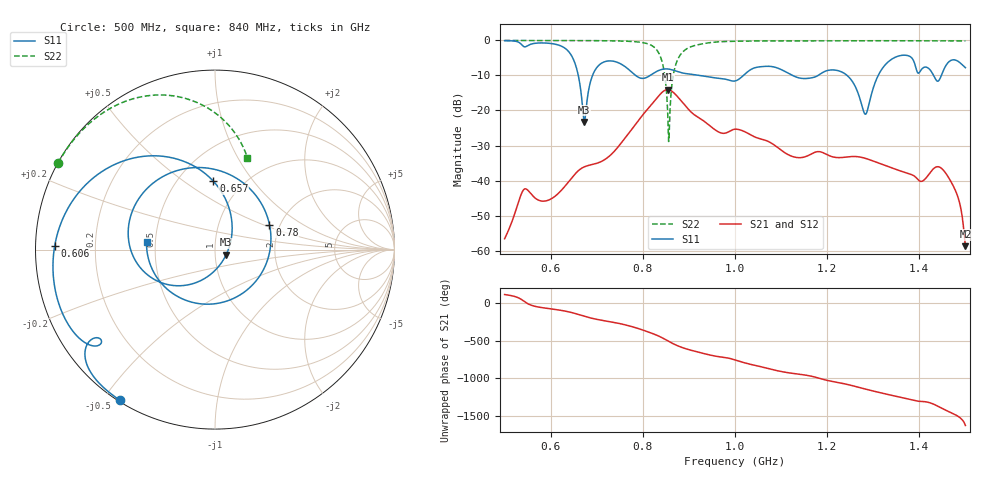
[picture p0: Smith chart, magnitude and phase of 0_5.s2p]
! TOUCHSTONE file generated by CST MICROWAVE STUDIO
! Date and time: Sat Oct 24 10:41:57 2020
! Project name: Scenario_1_Planar_Body_Tissue_Center.cst
! Parameters = {hfat=3; hmuscle=50; hskin=1.5; hgap=25; Wtissue=700; Ltissue=700; L_HA=400; MT=2.54; Rad_Dielectric=30; Rad_Lower=7.3; Rad_Upper=30; a_HA=580; a_WG=246; b_HA=500; b_WG=121; c_HA=0; c_WG=187; d_feed=85; dx1=242.28; h_feed=15; h_lower=18; h_upper=40}
! Header version: 2018
! Port assignment regex: !\s*Touchstone port\s*([0-9]+)\s*=\s*(CST MWS port|CST DS port)\s*([0-9]+|Zmin|Zmax)\s*\(\"(.*)\"\)(\s*mode\s*([0-9]+))?.*
! Touchstone port assignment:
! Touchstone port 1 = CST MWS port 1 ("")
! Touchstone port 2 = CST MWS port 2 ("")
# GHz S DB R 50
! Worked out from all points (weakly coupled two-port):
!   1003 points, 500 MHz to 1.5 GHz, reference 50 ohm
!   highest |S21| = -14.03 dB at 854 MHz (marker M1); lowest = -58.7 dB at 1.5 GHz (marker M2)
!   lowest |S11| = -23.3 dB at 673 MHz (marker M3), VSWR 1.15, Z = 56.6 - j3.19 ohm
!   |S11| at or under -10 dB: 923 MHz to 1.018 GHz (95.26 MHz wide, 9.81 % of centre); 1.125 GHz to 1.18 GHz (55.43 MHz wide, 4.81 % of centre); 1.243 GHz to 1.311 GHz (67.44 MHz wide, 5.28 % of centre) (the widest 3 of 6)
!   |S22| runs from -28.9 to 0.0 dB; largest |S21 - S12| = 7.8e-05
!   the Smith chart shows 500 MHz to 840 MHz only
!   S11 on the Smith chart (normalised r, x): 500 MHz: 0.01, -0.55; 606 MHz: 0.06, +0.01; 657 MHz: 0.74, +0.65; 780 MHz: 1.76, +0.55; 840 MHz: 0.45, +0.04
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0.5  -0.07 -122.4  -56.62 112.9  -56.62 112.9  -0.01 151.1
0.542  -1.78 -142.8  -42.53 24.5  -42.53 24.5  -0.01 148.3
0.606  -0.98 178.8  -44.82 -81.7  -44.82 -81.7  -0.02 143.7
0.657  -8.38 91.3  -37.56 -145.5  -37.56 -145.5  -0.04 139.3
0.667  -16.15 52.1  -36.51 -164.2  -36.51 -164.2  -0.04 138.4
0.673  -23.29 -24.2  -36.09 -175.2  -36.09 -175.2  -0.04 137.8
0.719  -6.00 162.9  -33.87 122.9  -33.87 122.9  -0.09 132.4
0.78  -9.53 24.7  -24.67 41.0  -24.67 41.0  -0.33 120.3
0.834  -8.60 -168.5  -15.91 -76.9  -15.91 -76.9  -3.47 81.3
0.84  -8.32 173.9  -15.04 -94.3  -15.04 -94.3  -5.34 70.4
0.854  -8.14 136.0  -14.03 -140.6  -14.03 -140.6  -20.93 21.6
0.887  -9.32 63.3  -17.84 126.7  -17.84 126.7  -3.24 176.5
0.956  -10.68 -79.8  -25.45 18.0  -25.45 18.0  -0.49 148.2
1  -11.57 152.4  -25.34 -34.1  -25.34 -34.1  -0.24 140.3
1.06  -7.45 0.2  -28.27 -129.5  -28.27 -129.5  -0.15 133.3
1.101  -8.36 -89.5  -31.41 171.4  -31.41 171.4  -0.13 129.6
1.167  -10.66 106.8  -32.32 108.5  -32.32 108.5  -0.10 124.2
1.222  -8.57 7.8  -33.45 28.5  -33.45 28.5  -0.08 120.0
1.283  -21.08 -165.5  -33.67 -60.6  -33.67 -60.6  -0.09 115.4
1.334  -5.95 36.0  -36.11 -135.2  -36.11 -135.2  -0.09 111.5
1.45  -9.30 -14.4  -36.74 41.4  -36.74 41.4  -0.11 102.2
1.5  -7.78 -53.2  -58.74 177.1  -58.74 177.1  -0.14 98.0
